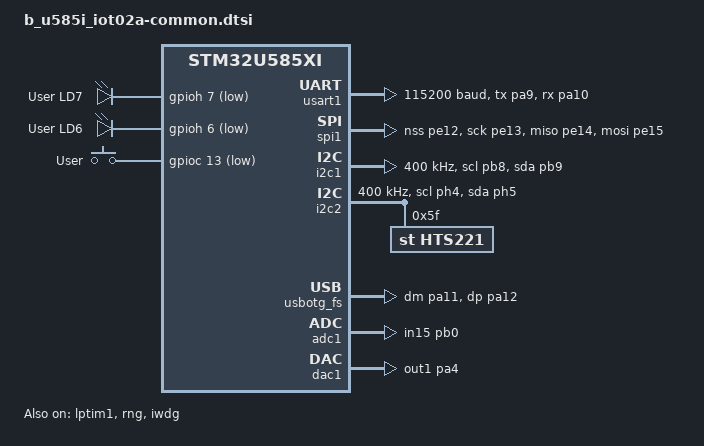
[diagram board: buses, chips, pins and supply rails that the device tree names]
/*
 * Copyright (c) 2021 Linaro Limited
 *
 * SPDX-License-Identifier: Apache-2.0
 */

#include <st/u5/stm32u585Xi.dtsi>
#include <st/u5/stm32u585aiixq-pinctrl.dtsi>
#include "arduino_r3_connector.dtsi"

/ {
	leds {
		compatible = "gpio-leds";
		green_led_1: led_1 {
			gpios = <&gpioh 7 GPIO_ACTIVE_LOW>;
			label = "User LD7";
		};
		red_led_1: led_3 {
			gpios = <&gpioh 6 GPIO_ACTIVE_LOW>;
			label = "User LD6";
		};
	};

	gpio_keys {
		compatible = "gpio-keys";
		user_button: button {
			label = "User";
			gpios = <&gpioc 13 (GPIO_ACTIVE_LOW | GPIO_PULL_UP)>;
		};
	};

	power-states {
		stop0: state0 {
			compatible = "zephyr,power-state";
			power-state-name = "suspend-to-idle";
			substate-id = <1>;
			min-residency-us = <100>;
		};
		stop1: state1 {
			compatible = "zephyr,power-state";
			power-state-name = "suspend-to-idle";
			substate-id = <2>;
			min-residency-us = <500>;
		};
		stop2: state2 {
			compatible = "zephyr,power-state";
			power-state-name = "suspend-to-idle";
			substate-id = <3>;
			min-residency-us = <900>;
		};
	};
};

&clk_lse {
	status = "okay";
};

&clk_msis {
	status = "okay";
	msi-range = <4>;
	msi-pll-mode;
};

&pll1 {
	div-m = <1>;
	mul-n = <80>;
	div-q = <2>;
	div-r = <2>;
	clocks = <&clk_msis>;
	status = "okay";
};

&rcc {
	clocks = <&pll1>;
	clock-frequency = <DT_FREQ_M(160)>;
	ahb-prescaler = <1>;
	apb1-prescaler = <1>;
	apb2-prescaler = <1>;
	apb3-prescaler = <1>;
};

&cpu0 {
	cpu-power-states = <&stop0 &stop1 &stop2>;
};

&lptim1 {
	status = "okay";
};

&usart1 {
	pinctrl-0 = <&usart1_tx_pa9 &usart1_rx_pa10>;
	pinctrl-names = "default";
	current-speed = <115200>;
	status = "okay";
};

&spi1 {
	pinctrl-0 = <&spi1_nss_pe12 &spi1_sck_pe13
		     &spi1_miso_pe14 &spi1_mosi_pe15>;
	pinctrl-names = "default";
	status = "okay";
};

&i2c1 {
	pinctrl-0 = <&i2c1_scl_pb8 &i2c1_sda_pb9>;
	pinctrl-names = "default";
	status = "okay";
	clock-frequency = <I2C_BITRATE_FAST>;
};

&i2c2 {
	pinctrl-0 = <&i2c2_scl_ph4 &i2c2_sda_ph5>;
	pinctrl-names = "default";
	status = "okay";
	clock-frequency = <I2C_BITRATE_FAST>;

	hts221@5f {
		compatible = "st,hts221";
		reg = <0x5f>;
		label = "HTS221";
	};
};

&rng {
	status = "okay";
};

zephyr_udc0: &usbotg_fs {
	pinctrl-0 = <&usb_otg_fs_dm_pa11 &usb_otg_fs_dp_pa12>;
	pinctrl-names = "default";
	status = "okay";
};

&adc1 {
	pinctrl-0 = <&adc1_in15_pb0>;
	pinctrl-names = "default";
	status = "okay";
};

&dac1 {
	pinctrl-0 = <&dac1_out1_pa4>;
	pinctrl-names = "default";
	status = "okay";
};

&iwdg {
	status = "okay";
};
